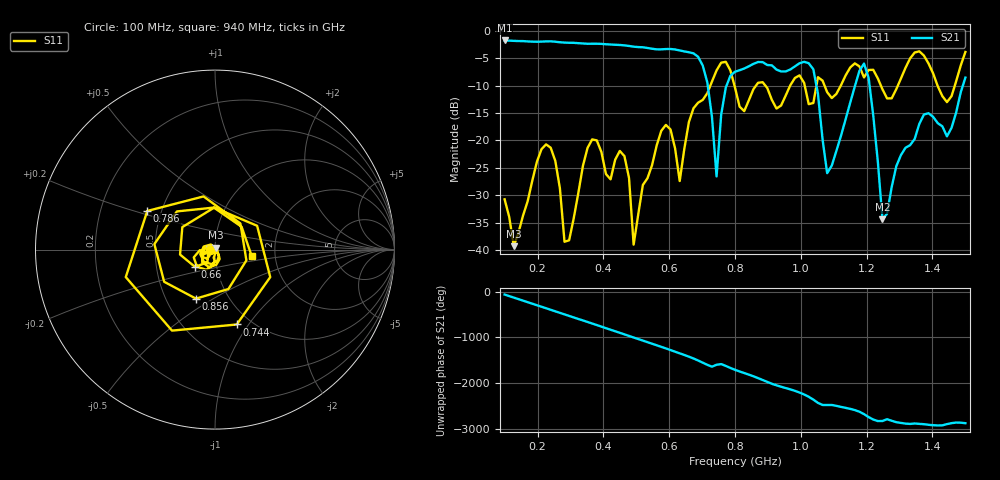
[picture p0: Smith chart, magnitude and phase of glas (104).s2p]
! NanoVNA-App
! Date: 2025-09-26 09:38:54
! Start: 100MHz Stop: 1,5GHz Points: 101
! S-Parameter data: F S11 S21 S12 S22
# Hz S RI R 50
!  Frequency  S11_Real  S11_Imag  S21_Real  S21_Imag  S12_Real  S12_Imag  S22_Real  S22_Imag
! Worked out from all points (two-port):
!   101 points, 100 MHz to 1.5 GHz, reference 50 ohm
!   highest |S21| = -1.79 dB at 100 MHz (marker M1); lowest = -34.4 dB at 1.248 GHz (marker M2)
!   |S21| within 3 dB of the highest: start of sweep to 688.2 MHz
!   lowest |S11| = -39.3 dB at 128 MHz (marker M3), VSWR 1.02, Z = 50.3 + j1.05 ohm
!   |S11| at or under -10 dB: start of sweep to 725.2 MHz; 798.3 MHz to 863.9 MHz (65.57 MHz wide, 7.89 % of centre); 892.1 MHz to 967.6 MHz (75.54 MHz wide, 8.12 % of centre)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
!   S12 and S22 are empty: the file has one direction only
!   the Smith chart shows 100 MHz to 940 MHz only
!   S11 on the Smith chart (normalised r, x): 100 MHz: 0.94, -0.01; 660 MHz: 0.78, -0.15; 744 MHz: 0.86, -0.88; 786 MHz: 0.42, +0.22; 856 MHz: 0.70, -0.42; 940 MHz: 1.51, -0.12
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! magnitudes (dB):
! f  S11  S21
! 100 MHz  -30.7  -1.8
! 128 MHz  -39.3  -1.9
! 212 MHz  -21.6  -2.0
! 282 MHz  -38.5  -2.2
! 338 MHz  -24.6  -2.3
! 464 MHz  -22.8  -2.7
! 492 MHz  -39.0  -2.9
! 576 MHz  -18.2  -3.4
! 632 MHz  -27.4  -3.6
! 660 MHz  -16.6  -3.9
! 716 MHz  -11.4  -9.5
! 744 MHz  -7.2  -26.5
! 786 MHz  -7.2  -8.2
! 800 MHz  -10.4  -7.5
! 856 MHz  -10.7  -6.0
! 940 MHz  -13.6  -7.4
! 1.038 GHz  -13.2  -7.0
! 1.08 GHz  -11.2  -26.0
! 1.192 GHz  -8.5  -6.0
! 1.248 GHz  -10.7  -34.4
! 1.276 GHz  -12.3  -28.5
! 1.5 GHz  -3.9  -8.6
